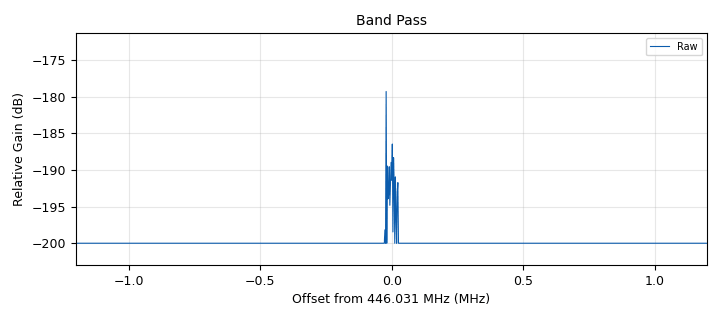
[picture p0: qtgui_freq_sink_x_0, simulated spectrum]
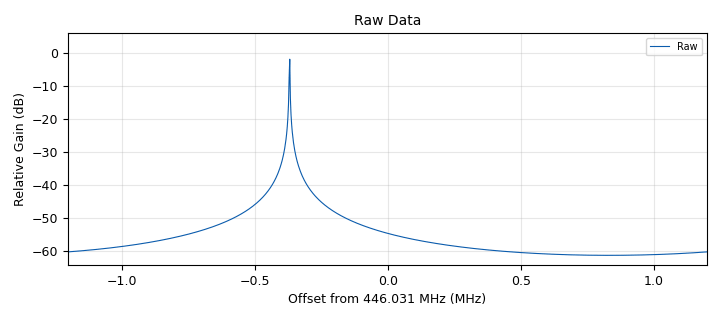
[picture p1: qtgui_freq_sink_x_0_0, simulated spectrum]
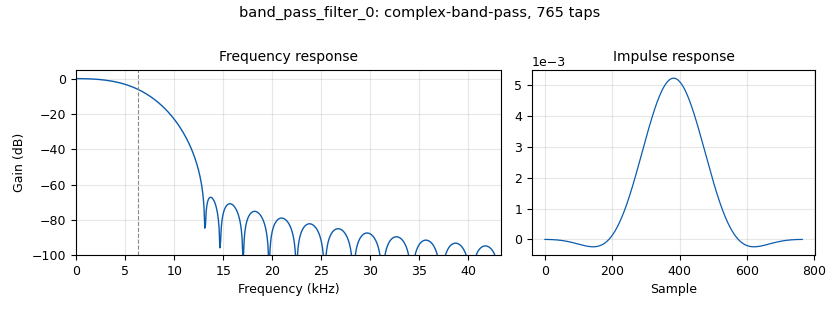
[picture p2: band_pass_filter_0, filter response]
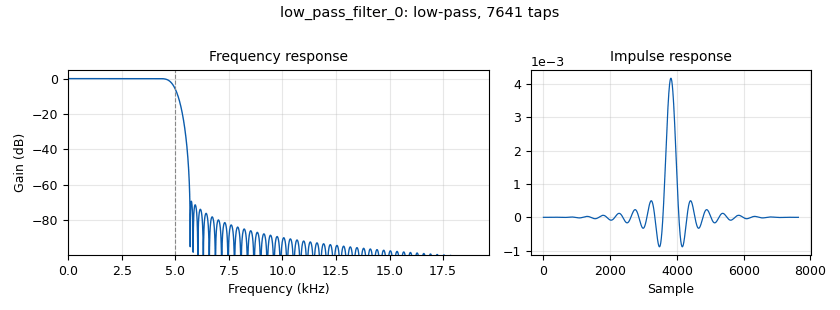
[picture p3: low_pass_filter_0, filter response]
options:
  parameters:
    generate_options: qt_gui
    id: Thesis
    output_language: python
    title: Not titled yet
  states: {}

blocks:
- name: bw
  id: variable
  parameters:
    value: '12500'
  states: {}
- name: gain
  id: variable_qtgui_range
  parameters:
    start: '0'
    step: '1'
    stop: '60'
    value: '40'
  states: {}
- name: ppm
  id: variable_qtgui_range
  parameters:
    start: '0'
    step: '1'
    stop: '30'
    value: '27'
  states: {}
- name: samp_rate
  id: variable
  parameters:
    value: 2.4e6
  states: {}
- name: analog_nbfm_rx_0
  id: analog_nbfm_rx
  parameters:
    audio_rate: '10'
    max_dev: 5e3
    quad_rate: int(samp_rate/5)
    tau: '75e-6'
  states: {state: disabled}
- name: analog_sig_source_x_0
  id: analog_sig_source_x
  parameters:
    amp: '1'
    freq: fc
    offset: '0'
    phase: '0'
    samp_rate: samp_rate
    type: complex
    waveform: analog.GR_COS_WAVE
  states: {}
- name: analog_wfm_rcv_0
  id: analog_wfm_rcv
  parameters:
    audio_decimation: '10'
    quad_rate: samp_rate/5
  states: {}
- name: band_pass_filter_0
  id: band_pass_filter
  parameters:
    beta: '6.76'
    decim: '1'
    gain: '1'
    high_cutoff_freq: +bw/2
    low_cutoff_freq: '-bw/2'
    samp_rate: samp_rate
    type: fir_filter_ccc
    width: 10e3
    win: window.WIN_KAISER
  states: {}
- name: blocks_multiply_const_vxx_0
  id: blocks_multiply_const_vxx
  parameters:
    const: '3'
    type: float
  states: {}
- name: device
  id: parameter
  parameters:
    type: intx
    value: '0'
  states: {}
- name: epy_block_0
  id: epy_block
  parameters:
    _source_code: "import numpy as np\nfrom gnuradio import gr\n\nclass complex_threshold(gr.sync_block):\n    def __init__(self, low_threshold=1.0):\n        gr.sync_block.__init__(self,\n            name=\"Noise Threshold\",\n            in_sig=[np.complex64],\n            out_sig=[np.complex64])\n        self.low_threshold = low_threshold\n\n    def work(self, input_items, output_items):\n        in0 = input_items[0]\n        out = output_items[0]\n\n        # Apply threshold efficiently using numpy operations\n        magnitude = np.abs(in0)\n\n        # Zero the values below the low threshold\n        out[:] = np.where(magnitude >= self.low_threshold, in0, 0)\n\n        return len(output_items[0])\n\n"
    low_threshold: '0.15'
  states: {}
- name: fc
  id: parameter
  parameters:
    type: eng_float
    value: 446.03125e6
  states: {}
- name: file
  id: parameter
  parameters:
    type: str
    value: /home/ubuntulaptop/Desktop/distanceTest.wav
  states: {}
- name: low_pass_filter_0
  id: low_pass_filter
  parameters:
    beta: '6.76'
    cutoff_freq: 5e3
    decim: '5'
    gain: '1'
    samp_rate: samp_rate
    type: fir_filter_ccf
    width: 1e3
    win: window.WIN_KAISER
  states: {}
- name: qtgui_freq_sink_x_0
  id: qtgui_freq_sink_x
  parameters:
    autoscale: 'True'
    bw: samp_rate
    fc: fc
    fftsize: '1024'
    label1: Raw
    name: '"Band Pass"'
    type: complex
    wintype: window.WIN_RECTANGULAR
  states: {}
- name: qtgui_freq_sink_x_0_0
  id: qtgui_freq_sink_x
  parameters:
    autoscale: 'True'
    bw: samp_rate
    fc: fc
    fftsize: '1024'
    label1: Raw
    name: '"Raw Data"'
    type: complex
    wintype: window.WIN_RECTANGULAR
  states: {}
- name: qtgui_freq_sink_x_1
  id: qtgui_freq_sink_x
  parameters:
    bw: samp_rate/5/10
    fc: '0'
    fftsize: '1024'
    label1: Audio
    name: '"Audio"'
    type: float
  states: {}
- name: qtgui_time_sink_x_0
  id: qtgui_time_sink_x
  parameters:
    label1: Filtered Real
    label2: Filtered Imaginary
    name: '"Demodulated Signal"'
    size: '1024'
    srate: samp_rate/5
    type: complex
    ymax: '2'
    ymin: '-2'
  states: {}

connections:
- [analog_nbfm_rx_0, '0', qtgui_freq_sink_x_1, '0']
- [analog_sig_source_x_0, '0', band_pass_filter_0, '0']
- [analog_sig_source_x_0, '0', qtgui_freq_sink_x_0_0, '0']
- [analog_wfm_rcv_0, '0', blocks_multiply_const_vxx_0, '0']
- [band_pass_filter_0, '0', low_pass_filter_0, '0']
- [blocks_multiply_const_vxx_0, '0', qtgui_freq_sink_x_1, '0']
- [epy_block_0, '0', analog_nbfm_rx_0, '0']
- [epy_block_0, '0', analog_wfm_rcv_0, '0']
- [epy_block_0, '0', qtgui_time_sink_x_0, '0']
- [low_pass_filter_0, '0', epy_block_0, '0']
- [low_pass_filter_0, '0', qtgui_freq_sink_x_0, '0']

metadata:
  file_format: 1
  grc_version: 3.10.5.1
